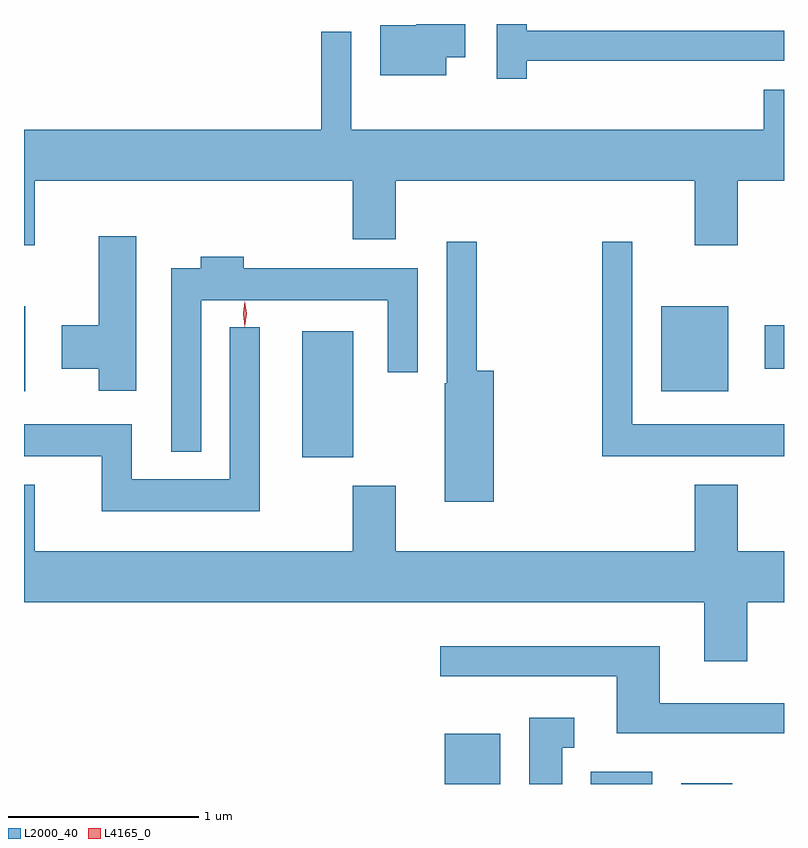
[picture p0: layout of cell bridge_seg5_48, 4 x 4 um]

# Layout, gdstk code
import gdstk
lib = gdstk.Library(unit=1e-6, precision=1e-09)
def R(c, l, rs):  # rectangles x0, y0, x1, y1
    for r in rs: c.add(gdstk.rectangle(r[:2], r[2:], *l))
def P(c, l, *ps):  # polygons
    for p in ps: c.add(gdstk.Polygon(p, *l))
L2000_40 = (2000, 40)
L4165_0 = (4165, 0)

bridge_seg5_48 = lib.new_cell('bridge_seg5_48')
R(bridge_seg5_48, L2000_40, [(1328.596,1473.6,1328.889,1473.864), (1329.366,1473.6,1329.689,1473.664), (1329.841,1473.6,1330.109,1473.604), (1327.846,1475.321,1328.114,1475.984), (1326.382,1475.666,1326.389,1476.114), (1329.736,1475.666,1330.089,1476.114), (1330.281,1475.786,1330.382,1476.014)])
P(bridge_seg5_48, L2000_40, [(1328.604,1477.426),(1328.704,1477.426),(1328.704,1477.6),(1328.446,1477.6),(1328.446,1477.594),(1328.256,1477.594),(1328.256,1477.331),(1328.604,1477.331)],
  [(1329.029,1477.406),(1330.382,1477.406),(1330.382,1477.564),(1329.029,1477.564),(1329.029,1477.6),(1328.871,1477.6),(1328.871,1477.313),(1329.029,1477.313)],
  [(1326.439,1476.776),(1328.111,1476.776),(1328.111,1476.466),(1328.339,1476.466),(1328.339,1476.776),(1329.911,1476.776),(1329.911,1476.436),(1330.139,1476.436),(1330.139,1476.776),(1330.382,1476.776),(1330.382,1477.254),(1330.276,1477.254),(1330.276,1477.044),(1328.104,1477.044),(1328.104,1477.558),(1327.946,1477.558),(1327.946,1477.044),(1326.382,1477.044),(1326.382,1476.436),(1326.439,1476.436)],
  [(1326.974,1476.484),(1326.776,1476.484),(1326.776,1476.014),(1326.581,1476.014),(1326.581,1475.786),(1326.776,1475.786),(1326.776,1475.671),(1326.974,1475.671)],
  [(1330.382,1475.494),(1329.584,1475.494),(1329.584,1476.453),(1329.426,1476.453),(1329.426,1475.326),(1330.382,1475.326)],
  [(1328.854,1475.774),(1328.764,1475.774),(1328.764,1476.453),(1328.606,1476.453),(1328.606,1475.71),(1328.596,1475.71),(1328.596,1475.086),(1328.854,1475.086)],
  [(1327.314,1476.146),(1328.296,1476.146),(1328.296,1475.768),(1328.454,1475.768),(1328.454,1476.314),(1327.539,1476.314),(1327.539,1476.374),(1327.311,1476.374),(1327.311,1476.314),(1327.156,1476.314),(1327.156,1475.348),(1327.314,1475.348)],
  [(1327.624,1476.003),(1327.466,1476.003),(1327.466,1475.204),(1326.949,1475.204),(1326.949,1475.494),(1326.382,1475.494),(1326.382,1475.326),(1326.791,1475.326),(1326.791,1475.036),(1327.624,1475.036)],
  [(1330.189,1474.556),(1330.382,1474.556),(1330.382,1474.824),(1330.139,1474.824),(1330.139,1475.174),(1329.911,1475.174),(1329.911,1474.824),(1328.339,1474.824),(1328.339,1475.169),(1328.111,1475.169),(1328.111,1474.824),(1326.439,1474.824),(1326.439,1475.174),(1326.382,1475.174),(1326.382,1474.556),(1329.961,1474.556),(1329.961,1474.246),(1330.189,1474.246)],
  [(1330.382,1474.024),(1329.729,1474.024),(1329.729,1474.324),(1328.573,1474.324),(1328.573,1474.166),(1329.501,1474.166),(1329.501,1473.866),(1330.382,1473.866)],
  [(1329.214,1473.791),(1329.278,1473.791),(1329.278,1473.949),(1329.041,1473.949),(1329.041,1473.6),(1329.214,1473.6)])
P(bridge_seg5_48, L4165_0, [(1327.544,1476.007),(1327.535,1476.074),(1327.544,1476.14),(1327.545,1476.141),(1327.545,1476.14),(1327.555,1476.074),(1327.545,1476.007),(1327.545,1476.007)])

lib.write_gds('bridge_seg5_48.gds')
